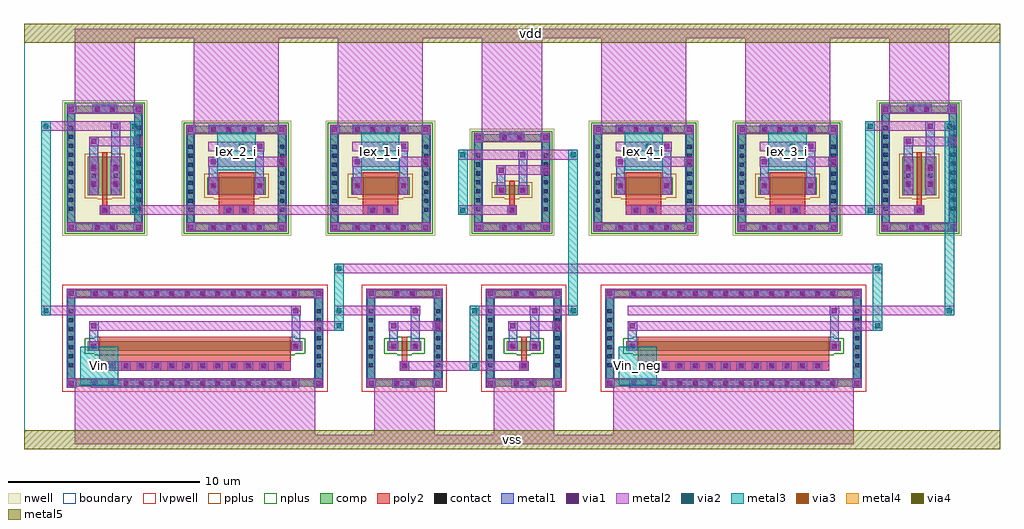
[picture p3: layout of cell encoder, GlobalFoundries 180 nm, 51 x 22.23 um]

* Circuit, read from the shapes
.subckt encoder Iex_1_i Iex_2_i Iex_3_i Iex_4_i Vin Vin_neg vdd vss
XM1 n1 Vin n2 vss nfet_03v3 w=0.5u l=10u
XM2 n2 n3 vss vss nfet_03v3 w=0.5u l=0.28u
XM3 n3 n3 vss vss nfet_03v3 w=0.5u l=0.28u
XM4 n4 Vin_neg n2 vss nfet_03v3 w=0.5u l=10u
XM5 n1 n1 vdd vdd pfet_03v3 w=2u l=0.28u
XM6 Iex_2_i n1 vdd vdd pfet_03v3 w=0.93u l=1.86u
XM7 Iex_1_i n1 vdd vdd pfet_03v3 w=0.93u l=1.86u
XM8 n3 n3 vdd vdd pfet_03v3 w=0.5u l=0.28u
XM9 Iex_4_i n4 vdd vdd pfet_03v3 w=0.93u l=1.86u
XM10 Iex_3_i n4 vdd vdd pfet_03v3 w=0.93u l=1.86u
XM11 n4 n4 vdd vdd pfet_03v3 w=2u l=0.28u
.ends

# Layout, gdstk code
import gdstk
lib = gdstk.Library(unit=1e-6, precision=1e-09)
def R(c, l, rs):  # rectangles x0, y0, x1, y1
    for r in rs: c.add(gdstk.rectangle(r[:2], r[2:], *l))
def A(c, l, x, y, w, h, nx, ny, dx, dy):  # array of equal rectangles
    R(c, l, [(x+i*dx, y+j*dy, x+i*dx+w, y+j*dy+h) for i in range(nx) for j in range(ny)])
boundary = (0, 0)
nwell = (21, 0)
comp = (22, 0)
poly2 = (30, 0)
pplus = (31, 0)
nplus = (32, 0)
contact = (33, 0)
metal1 = (34, 0)
via1 = (35, 0)
metal2 = (36, 0)
via2 = (38, 0)
via3 = (40, 0)
via4 = (41, 0)
metal3 = (42, 0)
metal4 = (46, 0)
metal5 = (81, 0)
lvpwell = (204, 0)

via_stack_7490b2b5_1 = lib.new_cell('via_stack_7490b2b5$1')
R(via_stack_7490b2b5_1, metal2, [(-0.25,-0.25,0.25,0.25)])
R(via_stack_7490b2b5_1, via2, [(-0.13,-0.13,0.13,0.13)])
R(via_stack_7490b2b5_1, metal3, [(-0.25,-0.25,0.25,0.25)])

c_route_b2553670 = lib.new_cell('c_route_b2553670')
R(c_route_b2553670, metal2, [(0.9,6.995,3.4,7.495), (0.9,16.635,3.4,17.135)])
R(c_route_b2553670, via2, [(1.02,7.115,1.28,7.375), (1.02,16.755,1.28,17.015)])
R(c_route_b2553670, metal3, [(0.9,6.995,1.4,17.135)])

compass_layer42__0_size2 = lib.new_cell('compass_layer42__0_size2__2$10')
R(compass_layer42__0_size2, metal3, [(-1,-1,1,1)])

rectangle_layer42__0_siz = lib.new_cell('rectangle_layer42__0_size2__2$10')
rectangle_layer42__0_siz.add(gdstk.Reference(compass_layer42__0_size2, (1,1)))

xm9_1 = lib.new_cell('xm9$1')
R(xm9_1, comp, [(-1.94,-2.52,1.94,-2.16), (-1.94,-2.16,-1.58,2.16), (1.58,-2.16,1.94,2.16), (-0.89,-0.655,0.89,-0.155), (-1.94,2.16,1.94,2.52)])
R(xm9_1, poly2, [(-0.25,-1.695,0.25,-1.195), (-0.14,-1.195,0.14,0.085)])
R(xm9_1, pplus, [(-0.61,-2.55,0.61,-2.54), (-1.96,-2.54,1.96,-2.14), (-1.96,-2.14,-1.56,-1.62), (-0.61,-2.14,0.61,-2.13), (1.56,-2.14,1.96,-1.62), (-1.97,-1.62,-1.55,1.62), (1.55,-1.62,1.97,1.62), (-1.96,1.62,-1.56,2.14), (1.56,1.62,1.96,2.14), (-0.61,2.13,0.61,2.14), (-1.96,2.14,1.96,2.54), (-0.61,2.54,0.61,2.55)])
R(xm9_1, nplus, [(-0.37,-0.885,0.37,-0.815), (-1.05,-0.815,1.05,0.005), (-0.37,0.005,0.37,0.075)])
A(xm9_1, contact, -1.87, -1.52, 0.22, 0.22, 1, 7, 0, 0.47)
A(xm9_1, contact, 1.65, -1.52, 0.22, 0.22, 1, 7, 0, 0.47)
R(xm9_1, contact, [(-0.51,-2.45,-0.29,-2.23), (0.29,-2.45,0.51,-2.23), (-0.11,-1.555,0.11,-1.335), (-0.68,-0.515,-0.46,-0.295), (0.46,-0.515,0.68,-0.295), (-0.51,2.23,-0.29,2.45), (0.29,2.23,0.51,2.45)])
R(xm9_1, metal1, [(-1.99,-2.59,-1.49,-2.09), (-0.65,-2.59,0.65,-2.09), (1.49,-2.59,1.99,-2.09), (-1.99,-2.09,-1.53,2.09), (1.53,-2.09,1.99,2.09), (-0.25,-1.695,0.25,-1.195), (-0.82,-0.655,-0.32,-0.155), (0.32,-0.655,0.82,-0.155), (-0.8,-0.155,-0.34,0.395), (0.34,-0.155,0.8,1.195), (-0.82,0.395,-0.32,0.895), (0.32,1.195,0.82,1.695), (-1.99,2.09,-1.49,2.59), (-0.65,2.09,0.65,2.59), (1.49,2.09,1.99,2.59)])
R(xm9_1, via1, [(-1.87,-2.47,-1.61,-2.21), (-0.53,-2.47,-0.27,-2.21), (0.27,-2.47,0.53,-2.21), (1.61,-2.47,1.87,-2.21), (-0.13,-1.575,0.13,-1.315), (-0.7,-0.535,-0.44,-0.275), (0.44,-0.535,0.7,-0.275), (-0.7,0.515,-0.44,0.775), (0.44,1.315,0.7,1.575), (-1.87,2.21,-1.61,2.47), (-0.53,2.21,-0.27,2.47), (0.27,2.21,0.53,2.47), (1.61,2.21,1.87,2.47)])
R(xm9_1, metal2, [(-1.99,-2.59,1.99,-2.09), (-0.25,-1.695,0.25,-1.195), (-0.82,-0.655,-0.32,-0.155), (0.32,-0.655,0.82,-0.155), (-0.82,0.395,0.82,0.895), (-0.82,1.195,0.82,1.695), (-1.99,2.09,1.99,2.59)])
R(xm9_1, lvpwell, [(-2.22,-2.8,2.22,2.8)])

via_stack_7490b2b5 = lib.new_cell('via_stack_7490b2b5')
R(via_stack_7490b2b5, metal2, [(-0.25,-0.25,0.25,0.25)])
R(via_stack_7490b2b5, via2, [(-0.13,-0.13,0.13,0.13)])
R(via_stack_7490b2b5, metal3, [(-0.25,-0.25,0.25,0.25)])

straight_route_88abcf1b = lib.new_cell('straight_route_88abcf1b')
R(straight_route_88abcf1b, metal2, [(14.46,6.195,16.21,6.695)])

l_route_b9b0439d = lib.new_cell('L_route_b9b0439d')
R(l_route_b9b0439d, metal2, [(16.21,6.995,19.06,7.495)])
R(l_route_b9b0439d, via2, [(16.33,7.115,16.59,7.375)])
R(l_route_b9b0439d, metal3, [(16.21,6.695,16.71,7.495)])

xm10 = lib.new_cell('xm10')
R(xm10, comp, [(-1.94,-2.52,1.94,-2.16), (-1.94,-2.16,-1.58,2.16), (1.58,-2.16,1.94,2.16), (-0.89,-0.655,0.89,-0.155), (-1.94,2.16,1.94,2.52)])
R(xm10, poly2, [(-0.25,-1.695,0.25,-1.195), (-0.14,-1.195,0.14,0.085)])
R(xm10, pplus, [(-0.61,-2.55,0.61,-2.54), (-1.96,-2.54,1.96,-2.14), (-1.96,-2.14,-1.56,-1.62), (-0.61,-2.14,0.61,-2.13), (1.56,-2.14,1.96,-1.62), (-1.97,-1.62,-1.55,1.62), (1.55,-1.62,1.97,1.62), (-1.96,1.62,-1.56,2.14), (1.56,1.62,1.96,2.14), (-0.61,2.13,0.61,2.14), (-1.96,2.14,1.96,2.54), (-0.61,2.54,0.61,2.55)])
R(xm10, nplus, [(-0.37,-0.885,0.37,-0.815), (-1.05,-0.815,1.05,0.005), (-0.37,0.005,0.37,0.075)])
A(xm10, contact, -1.87, -1.52, 0.22, 0.22, 1, 7, 0, 0.47)
A(xm10, contact, 1.65, -1.52, 0.22, 0.22, 1, 7, 0, 0.47)
R(xm10, contact, [(-0.51,-2.45,-0.29,-2.23), (0.29,-2.45,0.51,-2.23), (-0.11,-1.555,0.11,-1.335), (-0.68,-0.515,-0.46,-0.295), (0.46,-0.515,0.68,-0.295), (-0.51,2.23,-0.29,2.45), (0.29,2.23,0.51,2.45)])
R(xm10, metal1, [(-1.99,-2.59,-1.49,-2.09), (-0.65,-2.59,0.65,-2.09), (1.49,-2.59,1.99,-2.09), (-1.99,-2.09,-1.53,2.09), (1.53,-2.09,1.99,2.09), (-0.25,-1.695,0.25,-1.195), (-0.82,-0.655,-0.32,-0.155), (0.32,-0.655,0.82,-0.155), (-0.8,-0.155,-0.34,0.395), (0.34,-0.155,0.8,1.195), (-0.82,0.395,-0.32,0.895), (0.32,1.195,0.82,1.695), (-1.99,2.09,-1.49,2.59), (-0.65,2.09,0.65,2.59), (1.49,2.09,1.99,2.59)])
R(xm10, via1, [(-1.87,-2.47,-1.61,-2.21), (-0.53,-2.47,-0.27,-2.21), (0.27,-2.47,0.53,-2.21), (1.61,-2.47,1.87,-2.21), (-0.13,-1.575,0.13,-1.315), (-0.7,-0.535,-0.44,-0.275), (0.44,-0.535,0.7,-0.275), (-0.7,0.515,-0.44,0.775), (0.44,1.315,0.7,1.575), (-1.87,2.21,-1.61,2.47), (-0.53,2.21,-0.27,2.47), (0.27,2.21,0.53,2.47), (1.61,2.21,1.87,2.47)])
R(xm10, metal2, [(-1.99,-2.59,1.99,-2.09), (-0.25,-1.695,0.25,-1.195), (-0.82,-0.655,-0.32,-0.155), (0.32,-0.655,0.82,-0.155), (-0.82,0.395,0.82,0.895), (-0.82,1.195,0.82,1.695), (-1.99,2.09,1.99,2.59)])
R(xm10, lvpwell, [(-2.22,-2.8,2.22,2.8)])

via_stack_b843013f = lib.new_cell('via_stack_b843013f')
R(via_stack_b843013f, metal2, [(-0.25,-0.25,0.25,0.25)])
R(via_stack_b843013f, via2, [(-0.13,-0.13,0.13,0.13)])
R(via_stack_b843013f, via3, [(-0.13,-0.13,0.13,0.13)])
R(via_stack_b843013f, via4, [(-0.13,-0.13,0.13,0.13)])
R(via_stack_b843013f, metal3, [(-0.25,-0.25,0.25,0.25)])
R(via_stack_b843013f, metal4, [(-0.25,-0.25,0.25,0.25)])
R(via_stack_b843013f, metal5, [(-0.25,-0.25,0.25,0.25)])

l_route_a891df28 = lib.new_cell('L_route_a891df28')
R(l_route_a891df28, metal2, [(24.54,0.25,27.7,3.21)])

l_route_049704b8 = lib.new_cell('L_route_049704b8')
R(l_route_049704b8, metal1, [(21.37,6.195,21.87,6.695), (21.41,6.695,21.87,7.96)])
R(l_route_049704b8, via1, [(21.49,6.315,21.75,6.575)])
R(l_route_049704b8, metal2, [(20.7,6.195,21.87,6.695)])

c_route_481192b6 = lib.new_cell('c_route_481192b6')
R(c_route_481192b6, metal2, [(23.3,4.105,25.87,4.605), (23.3,6.995,25.3,7.495)])
R(c_route_481192b6, via2, [(23.42,4.225,23.68,4.485), (23.42,7.115,23.68,7.375)])
R(c_route_481192b6, metal3, [(23.3,4.105,23.8,7.495)])

straight_route_ff57ad5f = lib.new_cell('straight_route_ff57ad5f')
R(straight_route_ff57ad5f, metal2, [(20.13,4.105,25.87,4.605)])

l_route_1f6eb2fc = lib.new_cell('L_route_1f6eb2fc')
R(l_route_1f6eb2fc, metal2, [(18.3,0.25,25.25,0.75), (18.3,0.75,21.46,3.21)])

xm1_1 = lib.new_cell('xm1$1')
R(xm1_1, comp, [(-6.65,-2.52,6.65,-2.16), (-6.65,-2.16,-6.29,2.16), (6.29,-2.16,6.65,2.16), (-5.6,-0.655,5.6,-0.155), (-6.65,2.16,6.65,2.52)])
R(xm1_1, poly2, [(-5,-1.695,5,0.085)])
R(xm1_1, pplus, [(-5.41,-2.55,5.41,-2.54), (-6.67,-2.54,6.67,-2.14), (-6.67,-2.14,-6.27,-1.62), (-5.41,-2.14,5.41,-2.13), (6.27,-2.14,6.67,-1.62), (-6.68,-1.62,-6.26,1.62), (6.26,-1.62,6.68,1.62), (-6.67,1.62,-6.27,2.14), (6.27,1.62,6.67,2.14), (-5.41,2.13,5.41,2.14), (-6.67,2.14,6.67,2.54), (-5.41,2.54,5.41,2.55)])
R(xm1_1, nplus, [(-5.23,-0.885,5.23,-0.815), (-5.76,-0.815,5.76,0.005), (-5.23,0.005,5.23,0.075)])
A(xm1_1, contact, -5.31, -2.45, 0.22, 0.22, 14, 2, 0.8, 4.68)
A(xm1_1, contact, -4.51, -1.555, 0.22, 0.22, 12, 1, 0.8, 0)
A(xm1_1, contact, -6.58, -1.52, 0.22, 0.22, 1, 7, 0, 0.47)
A(xm1_1, contact, 6.36, -1.52, 0.22, 0.22, 1, 7, 0, 0.47)
R(xm1_1, contact, [(-5.39,-0.515,-5.17,-0.295), (5.17,-0.515,5.39,-0.295)])
A(xm1_1, metal1, -4.65, -1.695, 0.5, 0.5, 12, 1, 0.8, 0)
R(xm1_1, metal1, [(-6.7,-2.59,-6.2,-2.09), (-5.45,-2.59,5.45,-2.09), (6.2,-2.59,6.7,-2.09), (-6.7,-2.09,-6.24,2.09), (6.24,-2.09,6.7,2.09), (-5.53,-0.655,-5.03,-0.155), (5.03,-0.655,5.53,-0.155), (-5.51,-0.155,-5.05,0.395), (5.05,-0.155,5.51,1.195), (-5.53,0.395,-5.03,0.895), (5.03,1.195,5.53,1.695), (-6.7,2.09,-6.2,2.59), (-5.45,2.09,5.45,2.59), (6.2,2.09,6.7,2.59)])
A(xm1_1, via1, -5.33, -2.47, 0.26, 0.26, 14, 2, 0.8, 4.68)
A(xm1_1, via1, -4.53, -1.575, 0.26, 0.26, 12, 1, 0.8, 0)
R(xm1_1, via1, [(-6.58,-2.47,-6.32,-2.21), (6.32,-2.47,6.58,-2.21), (-5.41,-0.535,-5.15,-0.275), (5.15,-0.535,5.41,-0.275), (-5.41,0.515,-5.15,0.775), (5.15,1.315,5.41,1.575), (-6.58,2.21,-6.32,2.47), (6.32,2.21,6.58,2.47)])
R(xm1_1, metal2, [(-6.7,-2.59,6.7,-2.09), (-5,-1.695,5,-1.195), (-5.53,-0.655,-5.03,-0.155), (5.03,-0.655,5.53,-0.155), (-5.53,0.395,5.53,0.895), (-5.53,1.195,5.53,1.695), (-6.7,2.09,6.7,2.59)])
R(xm1_1, lvpwell, [(-6.93,-2.8,6.93,2.8)])

l_route_4362e3b7 = lib.new_cell('L_route_4362e3b7')
R(l_route_4362e3b7, metal2, [(2.64,0.25,25.25,0.75), (2.64,0.75,15.22,3.21)])

l_route_0982d815 = lib.new_cell('L_route_0982d815')
R(l_route_0982d815, metal2, [(25.25,0.25,43.36,0.75), (30.78,0.75,43.36,3.21)])

xm2_1 = lib.new_cell('xm2$1')
R(xm2_1, comp, [(-6.65,-2.52,6.65,-2.16), (-6.65,-2.16,-6.29,2.16), (6.29,-2.16,6.65,2.16), (-5.6,-0.655,5.6,-0.155), (-6.65,2.16,6.65,2.52)])
R(xm2_1, poly2, [(-5,-1.695,5,0.085)])
R(xm2_1, pplus, [(-5.41,-2.55,5.41,-2.54), (-6.67,-2.54,6.67,-2.14), (-6.67,-2.14,-6.27,-1.62), (-5.41,-2.14,5.41,-2.13), (6.27,-2.14,6.67,-1.62), (-6.68,-1.62,-6.26,1.62), (6.26,-1.62,6.68,1.62), (-6.67,1.62,-6.27,2.14), (6.27,1.62,6.67,2.14), (-5.41,2.13,5.41,2.14), (-6.67,2.14,6.67,2.54), (-5.41,2.54,5.41,2.55)])
R(xm2_1, nplus, [(-5.23,-0.885,5.23,-0.815), (-5.76,-0.815,5.76,0.005), (-5.23,0.005,5.23,0.075)])
A(xm2_1, contact, -5.31, -2.45, 0.22, 0.22, 14, 2, 0.8, 4.68)
A(xm2_1, contact, -4.51, -1.555, 0.22, 0.22, 12, 1, 0.8, 0)
A(xm2_1, contact, -6.58, -1.52, 0.22, 0.22, 1, 7, 0, 0.47)
A(xm2_1, contact, 6.36, -1.52, 0.22, 0.22, 1, 7, 0, 0.47)
R(xm2_1, contact, [(-5.39,-0.515,-5.17,-0.295), (5.17,-0.515,5.39,-0.295)])
A(xm2_1, metal1, -4.65, -1.695, 0.5, 0.5, 12, 1, 0.8, 0)
R(xm2_1, metal1, [(-6.7,-2.59,-6.2,-2.09), (-5.45,-2.59,5.45,-2.09), (6.2,-2.59,6.7,-2.09), (-6.7,-2.09,-6.24,2.09), (6.24,-2.09,6.7,2.09), (-5.53,-0.655,-5.03,-0.155), (5.03,-0.655,5.53,-0.155), (-5.51,-0.155,-5.05,0.395), (5.05,-0.155,5.51,1.195), (-5.53,0.395,-5.03,0.895), (5.03,1.195,5.53,1.695), (-6.7,2.09,-6.2,2.59), (-5.45,2.09,5.45,2.59), (6.2,2.09,6.7,2.59)])
A(xm2_1, via1, -5.33, -2.47, 0.26, 0.26, 14, 2, 0.8, 4.68)
A(xm2_1, via1, -4.53, -1.575, 0.26, 0.26, 12, 1, 0.8, 0)
R(xm2_1, via1, [(-6.58,-2.47,-6.32,-2.21), (6.32,-2.47,6.58,-2.21), (-5.41,-0.535,-5.15,-0.275), (5.15,-0.535,5.41,-0.275), (-5.41,0.515,-5.15,0.775), (5.15,1.315,5.41,1.575), (-6.58,2.21,-6.32,2.47), (6.32,2.21,6.58,2.47)])
R(xm2_1, metal2, [(-6.7,-2.59,6.7,-2.09), (-5,-1.695,5,-1.195), (-5.53,-0.655,-5.03,-0.155), (5.03,-0.655,5.53,-0.155), (-5.53,0.395,5.53,0.895), (-5.53,1.195,5.53,1.695), (-6.7,2.09,6.7,2.59)])
R(xm2_1, lvpwell, [(-6.93,-2.8,6.93,2.8)])

l_route_171a04ac = lib.new_cell('L_route_171a04ac')
R(l_route_171a04ac, metal1, [(27.61,6.195,28.11,6.695), (27.65,6.695,28.11,7.96)])
R(l_route_171a04ac, via1, [(27.73,6.315,27.99,6.575)])
R(l_route_171a04ac, metal2, [(26.94,6.195,28.11,6.695)])

c_route_f370e2cd = lib.new_cell('c_route_f370e2cd')
R(c_route_f370e2cd, metal2, [(42.6,6.995,48.6,7.495), (47.6,16.635,48.6,17.135)])
R(c_route_f370e2cd, via2, [(48.22,7.115,48.48,7.375), (48.22,16.755,48.48,17.015)])
R(c_route_f370e2cd, metal3, [(48.1,6.995,48.6,17.135)])

c_route_04ee7531 = lib.new_cell('c_route_04ee7531')
R(c_route_04ee7531, metal2, [(26.94,6.995,28.94,7.495), (26.32,15.14,28.94,15.64)])
R(c_route_04ee7531, via2, [(28.56,7.115,28.82,7.375), (28.56,15.26,28.82,15.52)])
R(c_route_04ee7531, metal3, [(28.44,6.995,28.94,15.64)])

straight_route_9d656d86 = lib.new_cell('straight_route_9d656d86')
R(straight_route_9d656d86, metal2, [(42.6,6.195,44.35,6.695)])

c_compass_layer42__0_size2 = lib.new_cell('compass_layer42__0_size2__2$1$2')
R(c_compass_layer42__0_size2, metal3, [(-1,-1,1,1)])

c_rectangle_layer42__0_siz = lib.new_cell('rectangle_layer42__0_size2__2$1$2')
c_rectangle_layer42__0_siz.add(gdstk.Reference(c_compass_layer42__0_size2, (1,1)))

compass_50f39e54_1 = lib.new_cell('compass_50f39e54$1')
R(compass_50f39e54_1, metal5, [(-25.5,-0.5,25.5,0.5)])

rectangle_50f39e54_1 = lib.new_cell('rectangle_50f39e54$1')
rectangle_50f39e54_1.add(gdstk.Reference(compass_50f39e54_1, (25.5,0.5)))

c_route_420c9b31 = lib.new_cell('c_route_420c9b31')
R(c_route_420c9b31, metal2, [(16.21,9.195,44.85,9.695)])
R(c_route_420c9b31, via2, [(16.33,9.315,16.59,9.575), (44.47,9.315,44.73,9.575)])
R(c_route_420c9b31, metal3, [(16.21,6.695,16.71,9.695), (44.35,6.695,44.85,9.695)])

xm3_1 = lib.new_cell('xm3$1')
R(xm3_1, nwell, [(-2.22,-3.545,2.22,3.545)])
R(xm3_1, comp, [(-1.94,-3.265,1.94,-2.905), (-1.94,-2.905,-1.58,2.905), (1.58,-2.905,1.94,2.905), (-0.89,-1.405,0.89,0.595), (-1.94,2.905,1.94,3.265)])
R(xm3_1, poly2, [(-0.25,-2.445,0.25,-1.945), (-0.14,-1.945,0.14,0.835)])
R(xm3_1, pplus, [(-0.37,-1.635,0.37,-1.565), (-1.05,-1.565,1.05,0.755), (-0.37,0.755,0.37,0.825)])
R(xm3_1, nplus, [(-2.1,-3.425,2.1,-2.885), (-2.1,-2.885,-1.56,-2.325), (-0.61,-2.885,0.61,-2.875), (1.56,-2.885,2.1,-2.325), (-2.1,-2.325,-1.55,2.325), (1.55,-2.325,2.1,2.325), (-2.1,2.325,-1.56,2.885), (1.56,2.325,2.1,2.885), (-0.61,2.875,0.61,2.885), (-2.1,2.885,2.1,3.425)])
A(xm3_1, contact, -1.87, -2.225, 0.22, 0.22, 1, 10, 0, 0.47)
A(xm3_1, contact, 1.65, -2.225, 0.22, 0.22, 1, 10, 0, 0.47)
A(xm3_1, contact, -0.68, -0.985, 0.22, 0.22, 1, 3, 0, 0.47)
A(xm3_1, contact, 0.46, -0.985, 0.22, 0.22, 1, 3, 0, 0.47)
R(xm3_1, contact, [(-0.51,-3.195,-0.29,-2.975), (0.29,-3.195,0.51,-2.975), (-0.11,-2.305,0.11,-2.085), (-0.51,2.975,-0.29,3.195), (0.29,2.975,0.51,3.195)])
R(xm3_1, metal1, [(-1.99,-3.335,-1.49,-2.835), (-0.65,-3.335,0.65,-2.835), (1.49,-3.335,1.99,-2.835), (-1.99,-2.835,-1.53,2.835), (1.53,-2.835,1.99,2.835), (-0.25,-2.445,0.25,-1.945), (-0.8,-1.405,-0.34,-1.055), (0.34,-1.405,0.8,-1.055), (-0.82,-1.055,-0.32,0.245), (0.32,-1.055,0.82,0.245), (-0.8,0.245,-0.34,1.145), (0.34,0.245,0.8,1.945), (-0.82,1.145,-0.32,1.645), (0.32,1.945,0.82,2.445), (-1.99,2.835,-1.49,3.335), (-0.65,2.835,0.65,3.335), (1.49,2.835,1.99,3.335)])
R(xm3_1, via1, [(-1.87,-3.215,-1.61,-2.955), (-0.53,-3.215,-0.27,-2.955), (0.27,-3.215,0.53,-2.955), (1.61,-3.215,1.87,-2.955), (-0.13,-2.325,0.13,-2.065), (-0.7,-0.935,-0.44,-0.675), (0.44,-0.935,0.7,-0.675), (-0.7,-0.135,-0.44,0.125), (0.44,-0.135,0.7,0.125), (-0.7,1.265,-0.44,1.525), (0.44,2.065,0.7,2.325), (-1.87,2.955,-1.61,3.215), (-0.53,2.955,-0.27,3.215), (0.27,2.955,0.53,3.215), (1.61,2.955,1.87,3.215)])
R(xm3_1, metal2, [(-1.99,-3.335,1.99,-2.835), (-0.25,-2.445,0.25,-1.945), (-0.82,-1.405,-0.32,0.595), (0.32,-1.405,0.82,0.595), (-0.82,1.145,0.82,1.645), (-0.82,1.945,0.82,2.445), (-1.99,2.835,1.99,3.335)])

xm5_1 = lib.new_cell('xm5$1')
R(xm5_1, nwell, [(-2.86,-3.015,2.86,3.015)])
R(xm5_1, comp, [(-2.58,-2.735,2.58,-2.375), (-2.58,-2.375,-2.22,2.375), (2.22,-2.375,2.58,2.375), (-1.53,-0.865,1.53,0.065), (-2.58,2.375,2.58,2.735)])
R(xm5_1, poly2, [(-0.93,-1.91,0.93,0.31)])
R(xm5_1, pplus, [(-1.16,-1.095,1.16,-1.025), (-1.69,-1.025,1.69,0.225), (-1.16,0.225,1.16,0.295)])
R(xm5_1, nplus, [(-2.74,-2.895,2.74,-2.355), (-2.74,-2.355,-2.2,-1.855), (-1.41,-2.355,1.41,-2.345), (2.2,-2.355,2.74,-1.855), (-2.74,-1.855,-2.19,1.855), (2.19,-1.855,2.74,1.855), (-2.74,1.855,-2.2,2.355), (2.2,1.855,2.74,2.355), (-1.41,2.345,1.41,2.355), (-2.74,2.355,2.74,2.895)])
A(xm5_1, contact, -1.31, -2.665, 0.22, 0.22, 4, 2, 0.8, 5.11)
A(xm5_1, contact, -2.51, -1.755, 0.22, 0.22, 1, 8, 0, 0.47)
A(xm5_1, contact, 2.29, -1.755, 0.22, 0.22, 1, 8, 0, 0.47)
R(xm5_1, contact, [(-0.51,-1.77,-0.29,-1.55), (0.29,-1.77,0.51,-1.55), (-1.32,-0.51,-1.1,-0.29), (1.1,-0.51,1.32,-0.29)])
R(xm5_1, metal1, [(-2.63,-2.805,-2.13,-2.305), (-1.45,-2.805,1.45,-2.305), (2.13,-2.805,2.63,-2.305), (-2.63,-2.305,-2.17,2.305), (2.17,-2.305,2.63,2.305), (-0.65,-1.91,-0.15,-1.41), (0.15,-1.91,0.65,-1.41), (-1.44,-0.865,-0.98,-0.65), (0.98,-0.865,1.44,-0.65), (-1.46,-0.65,-0.96,-0.15), (0.96,-0.65,1.46,-0.15), (-1.44,-0.15,-0.98,0.615), (0.98,-0.15,1.44,1.415), (-1.46,0.615,-0.96,1.115), (0.96,1.415,1.46,1.915), (-2.63,2.305,-2.13,2.805), (-1.45,2.305,1.45,2.805), (2.13,2.305,2.63,2.805)])
A(xm5_1, via1, -1.33, -2.685, 0.26, 0.26, 4, 2, 0.8, 5.11)
R(xm5_1, via1, [(-2.51,-2.685,-2.25,-2.425), (2.25,-2.685,2.51,-2.425), (-0.53,-1.79,-0.27,-1.53), (0.27,-1.79,0.53,-1.53), (-1.34,-0.53,-1.08,-0.27), (1.08,-0.53,1.34,-0.27), (-1.34,0.735,-1.08,0.995), (1.08,1.535,1.34,1.795), (-2.51,2.425,-2.25,2.685), (2.25,2.425,2.51,2.685)])
R(xm5_1, metal2, [(-2.63,-2.805,2.63,-2.305), (-0.93,-1.91,0.93,-1.41), (-1.46,-0.865,-0.96,0.065), (0.96,-0.865,1.46,0.065), (-1.46,0.615,1.46,1.115), (-1.46,1.415,1.46,1.915), (-2.63,2.305,2.63,2.805)])

l_route_0b27eaa6 = lib.new_cell('L_route_0b27eaa6')
R(l_route_0b27eaa6, metal1, [(5.71,15.835,6.21,16.335), (5.75,16.335,6.21,17.595)])
R(l_route_0b27eaa6, via1, [(5.83,15.955,6.09,16.215)])
R(l_route_0b27eaa6, metal2, [(5.04,15.835,6.21,16.335)])

c_route_86cd68ff = lib.new_cell('c_route_86cd68ff')
R(c_route_86cd68ff, metal2, [(4.47,12.245,6.04,12.745), (5.04,16.635,6.04,17.135)])
R(c_route_86cd68ff, via2, [(5.66,12.365,5.92,12.625), (5.66,16.755,5.92,17.015)])
R(c_route_86cd68ff, metal3, [(5.54,12.245,6.04,17.135)])

straight_route_3d652be3 = lib.new_cell('straight_route_3d652be3')
R(straight_route_3d652be3, metal2, [(4.47,12.245,10.17,12.745)])

c_compass_layer42__0_size2_ = lib.new_cell('compass_layer42__0_size2__2$3$1')
R(c_compass_layer42__0_size2_, metal3, [(-1,-1,1,1)])

c_rectangle_layer42__0_siz_ = lib.new_cell('rectangle_layer42__0_size2__2$3$1')
c_rectangle_layer42__0_siz_.add(gdstk.Reference(c_compass_layer42__0_size2_, (1,1)))

xm8_1 = lib.new_cell('xm8$1')
R(xm8_1, nwell, [(-2.86,-3.015,2.86,3.015)])
R(xm8_1, comp, [(-2.58,-2.735,2.58,-2.375), (-2.58,-2.375,-2.22,2.375), (2.22,-2.375,2.58,2.375), (-1.53,-0.865,1.53,0.065), (-2.58,2.375,2.58,2.735)])
R(xm8_1, poly2, [(-0.93,-1.91,0.93,0.31)])
R(xm8_1, pplus, [(-1.16,-1.095,1.16,-1.025), (-1.69,-1.025,1.69,0.225), (-1.16,0.225,1.16,0.295)])
R(xm8_1, nplus, [(-2.74,-2.895,2.74,-2.355), (-2.74,-2.355,-2.2,-1.855), (-1.41,-2.355,1.41,-2.345), (2.2,-2.355,2.74,-1.855), (-2.74,-1.855,-2.19,1.855), (2.19,-1.855,2.74,1.855), (-2.74,1.855,-2.2,2.355), (2.2,1.855,2.74,2.355), (-1.41,2.345,1.41,2.355), (-2.74,2.355,2.74,2.895)])
A(xm8_1, contact, -1.31, -2.665, 0.22, 0.22, 4, 2, 0.8, 5.11)
A(xm8_1, contact, -2.51, -1.755, 0.22, 0.22, 1, 8, 0, 0.47)
A(xm8_1, contact, 2.29, -1.755, 0.22, 0.22, 1, 8, 0, 0.47)
R(xm8_1, contact, [(-0.51,-1.77,-0.29,-1.55), (0.29,-1.77,0.51,-1.55), (-1.32,-0.51,-1.1,-0.29), (1.1,-0.51,1.32,-0.29)])
R(xm8_1, metal1, [(-2.63,-2.805,-2.13,-2.305), (-1.45,-2.805,1.45,-2.305), (2.13,-2.805,2.63,-2.305), (-2.63,-2.305,-2.17,2.305), (2.17,-2.305,2.63,2.305), (-0.65,-1.91,-0.15,-1.41), (0.15,-1.91,0.65,-1.41), (-1.44,-0.865,-0.98,-0.65), (0.98,-0.865,1.44,-0.65), (-1.46,-0.65,-0.96,-0.15), (0.96,-0.65,1.46,-0.15), (-1.44,-0.15,-0.98,0.615), (0.98,-0.15,1.44,1.415), (-1.46,0.615,-0.96,1.115), (0.96,1.415,1.46,1.915), (-2.63,2.305,-2.13,2.805), (-1.45,2.305,1.45,2.805), (2.13,2.305,2.63,2.805)])
A(xm8_1, via1, -1.33, -2.685, 0.26, 0.26, 4, 2, 0.8, 5.11)
R(xm8_1, via1, [(-2.51,-2.685,-2.25,-2.425), (2.25,-2.685,2.51,-2.425), (-0.53,-1.79,-0.27,-1.53), (0.27,-1.79,0.53,-1.53), (-1.34,-0.53,-1.08,-0.27), (1.08,-0.53,1.34,-0.27), (-1.34,0.735,-1.08,0.995), (1.08,1.535,1.34,1.795), (-2.51,2.425,-2.25,2.685), (2.25,2.425,2.51,2.685)])
R(xm8_1, metal2, [(-2.63,-2.805,2.63,-2.305), (-0.93,-1.91,0.93,-1.41), (-1.46,-0.865,-0.96,0.065), (0.96,-0.865,1.46,0.065), (-1.46,0.615,1.46,1.115), (-1.46,1.415,1.46,1.915), (-2.63,2.305,2.63,2.805)])

xm11 = lib.new_cell('xm11')
R(xm11, nwell, [(-2.22,-2.8,2.22,2.8)])
R(xm11, comp, [(-1.94,-2.52,1.94,-2.16), (-1.94,-2.16,-1.58,2.16), (1.58,-2.16,1.94,2.16), (-0.89,-0.655,0.89,-0.155), (-1.94,2.16,1.94,2.52)])
R(xm11, poly2, [(-0.25,-1.695,0.25,-1.195), (-0.14,-1.195,0.14,0.085)])
R(xm11, pplus, [(-0.37,-0.885,0.37,-0.815), (-1.05,-0.815,1.05,0.005), (-0.37,0.005,0.37,0.075)])
R(xm11, nplus, [(-2.1,-2.68,2.1,-2.14), (-2.1,-2.14,-1.56,-1.62), (-0.61,-2.14,0.61,-2.13), (1.56,-2.14,2.1,-1.62), (-2.1,-1.62,-1.55,1.62), (1.55,-1.62,2.1,1.62), (-2.1,1.62,-1.56,2.14), (1.56,1.62,2.1,2.14), (-0.61,2.13,0.61,2.14), (-2.1,2.14,2.1,2.68)])
A(xm11, contact, -1.87, -1.52, 0.22, 0.22, 1, 7, 0, 0.47)
A(xm11, contact, 1.65, -1.52, 0.22, 0.22, 1, 7, 0, 0.47)
R(xm11, contact, [(-0.51,-2.45,-0.29,-2.23), (0.29,-2.45,0.51,-2.23), (-0.11,-1.555,0.11,-1.335), (-0.68,-0.515,-0.46,-0.295), (0.46,-0.515,0.68,-0.295), (-0.51,2.23,-0.29,2.45), (0.29,2.23,0.51,2.45)])
R(xm11, metal1, [(-1.99,-2.59,-1.49,-2.09), (-0.65,-2.59,0.65,-2.09), (1.49,-2.59,1.99,-2.09), (-1.99,-2.09,-1.53,2.09), (1.53,-2.09,1.99,2.09), (-0.25,-1.695,0.25,-1.195), (-0.82,-0.655,-0.32,-0.155), (0.32,-0.655,0.82,-0.155), (-0.8,-0.155,-0.34,0.395), (0.34,-0.155,0.8,1.195), (-0.82,0.395,-0.32,0.895), (0.32,1.195,0.82,1.695), (-1.99,2.09,-1.49,2.59), (-0.65,2.09,0.65,2.59), (1.49,2.09,1.99,2.59)])
R(xm11, via1, [(-1.87,-2.47,-1.61,-2.21), (-0.53,-2.47,-0.27,-2.21), (0.27,-2.47,0.53,-2.21), (1.61,-2.47,1.87,-2.21), (-0.13,-1.575,0.13,-1.315), (-0.7,-0.535,-0.44,-0.275), (0.44,-0.535,0.7,-0.275), (-0.7,0.515,-0.44,0.775), (0.44,1.315,0.7,1.575), (-1.87,2.21,-1.61,2.47), (-0.53,2.21,-0.27,2.47), (0.27,2.21,0.53,2.47), (1.61,2.21,1.87,2.47)])
R(xm11, metal2, [(-1.99,-2.59,1.99,-2.09), (-0.25,-1.695,0.25,-1.195), (-0.82,-0.655,-0.32,-0.155), (0.32,-0.655,0.82,-0.155), (-0.82,0.395,0.82,0.895), (-0.82,1.195,0.82,1.695), (-1.99,2.09,1.99,2.59)])

l_route_c52907dc = lib.new_cell('L_route_c52907dc')
R(l_route_c52907dc, metal2, [(16.4,16.965,20.84,21.485), (16.4,21.485,26.25,21.985)])

l_route_11addbd7 = lib.new_cell('L_route_11addbd7')
R(l_route_11addbd7, metal1, [(20.75,14.775,21.25,15.275), (20.79,15.275,21.25,16.535)])
R(l_route_11addbd7, via1, [(20.87,14.895,21.13,15.155)])
R(l_route_11addbd7, metal2, [(20.08,14.775,21.25,15.275)])

l_route_a6bb1778 = lib.new_cell('L_route_a6bb1778')
R(l_route_a6bb1778, metal1, [(13.23,14.775,13.73,15.275), (13.27,15.275,13.73,16.535)])
R(l_route_a6bb1778, via1, [(13.35,14.895,13.61,15.155)])
R(l_route_a6bb1778, metal2, [(12.56,14.775,13.73,15.275)])

straight_route_d8785de4 = lib.new_cell('straight_route_d8785de4')
R(straight_route_d8785de4, metal2, [(12.03,12.25,17.69,12.75)])

c_route_679dd2e5 = lib.new_cell('c_route_679dd2e5')
R(c_route_679dd2e5, metal2, [(22.68,12.25,25.25,12.75), (22.68,15.14,24.68,15.64)])
R(c_route_679dd2e5, via2, [(22.8,12.37,23.06,12.63), (22.8,15.26,23.06,15.52)])
R(c_route_679dd2e5, metal3, [(22.68,12.25,23.18,15.64)])

c_compass_layer42__0_size2__ = lib.new_cell('compass_layer42__0_size2__2$2$1')
R(c_compass_layer42__0_size2__, metal3, [(-1,-1,1,1)])

c_rectangle_layer42__0_siz__ = lib.new_cell('rectangle_layer42__0_size2__2$2$1')
c_rectangle_layer42__0_siz__.add(gdstk.Reference(c_compass_layer42__0_size2__, (1,1)))

l_route_52557085 = lib.new_cell('L_route_52557085')
R(l_route_52557085, metal2, [(8.88,16.965,13.32,21.485), (8.88,21.485,26.25,21.985)])

l_route_aac58595 = lib.new_cell('L_route_aac58595')
R(l_route_aac58595, metal2, [(2.64,18.025,5.8,21.485), (2.64,21.485,26.25,21.985)])

xm6 = lib.new_cell('xm6')
R(xm6, nwell, [(-2.86,-3.015,2.86,3.015)])
R(xm6, comp, [(-2.58,-2.735,2.58,-2.375), (-2.58,-2.375,-2.22,2.375), (2.22,-2.375,2.58,2.375), (-1.53,-0.865,1.53,0.065), (-2.58,2.375,2.58,2.735)])
R(xm6, poly2, [(-0.93,-1.91,0.93,0.31)])
R(xm6, pplus, [(-1.16,-1.095,1.16,-1.025), (-1.69,-1.025,1.69,0.225), (-1.16,0.225,1.16,0.295)])
R(xm6, nplus, [(-2.74,-2.895,2.74,-2.355), (-2.74,-2.355,-2.2,-1.855), (-1.41,-2.355,1.41,-2.345), (2.2,-2.355,2.74,-1.855), (-2.74,-1.855,-2.19,1.855), (2.19,-1.855,2.74,1.855), (-2.74,1.855,-2.2,2.355), (2.2,1.855,2.74,2.355), (-1.41,2.345,1.41,2.355), (-2.74,2.355,2.74,2.895)])
A(xm6, contact, -1.31, -2.665, 0.22, 0.22, 4, 2, 0.8, 5.11)
A(xm6, contact, -2.51, -1.755, 0.22, 0.22, 1, 8, 0, 0.47)
A(xm6, contact, 2.29, -1.755, 0.22, 0.22, 1, 8, 0, 0.47)
R(xm6, contact, [(-0.51,-1.77,-0.29,-1.55), (0.29,-1.77,0.51,-1.55), (-1.32,-0.51,-1.1,-0.29), (1.1,-0.51,1.32,-0.29)])
R(xm6, metal1, [(-2.63,-2.805,-2.13,-2.305), (-1.45,-2.805,1.45,-2.305), (2.13,-2.805,2.63,-2.305), (-2.63,-2.305,-2.17,2.305), (2.17,-2.305,2.63,2.305), (-0.65,-1.91,-0.15,-1.41), (0.15,-1.91,0.65,-1.41), (-1.44,-0.865,-0.98,-0.65), (0.98,-0.865,1.44,-0.65), (-1.46,-0.65,-0.96,-0.15), (0.96,-0.65,1.46,-0.15), (-1.44,-0.15,-0.98,0.615), (0.98,-0.15,1.44,1.415), (-1.46,0.615,-0.96,1.115), (0.96,1.415,1.46,1.915), (-2.63,2.305,-2.13,2.805), (-1.45,2.305,1.45,2.805), (2.13,2.305,2.63,2.805)])
A(xm6, via1, -1.33, -2.685, 0.26, 0.26, 4, 2, 0.8, 5.11)
R(xm6, via1, [(-2.51,-2.685,-2.25,-2.425), (2.25,-2.685,2.51,-2.425), (-0.53,-1.79,-0.27,-1.53), (0.27,-1.79,0.53,-1.53), (-1.34,-0.53,-1.08,-0.27), (1.08,-0.53,1.34,-0.27), (-1.34,0.735,-1.08,0.995), (1.08,1.535,1.34,1.795), (-2.51,2.425,-2.25,2.685), (2.25,2.425,2.51,2.685)])
R(xm6, metal2, [(-2.63,-2.805,2.63,-2.305), (-0.93,-1.91,0.93,-1.41), (-1.46,-0.865,-0.96,0.065), (0.96,-0.865,1.46,0.065), (-1.46,0.615,1.46,1.115), (-1.46,1.415,1.46,1.915), (-2.63,2.305,2.63,2.805)])

l_route_ec792bf5 = lib.new_cell('L_route_ec792bf5')
R(l_route_ec792bf5, metal2, [(30.16,16.965,34.6,21.485), (26.25,21.485,34.6,21.985)])

l_route_aef27d6b = lib.new_cell('L_route_aef27d6b')
R(l_route_aef27d6b, metal2, [(23.92,16.535,27.08,21.985)])

l_route_744f09a4 = lib.new_cell('L_route_744f09a4')
R(l_route_744f09a4, metal1, [(34.51,14.775,35.01,15.275), (34.55,15.275,35.01,16.535)])
R(l_route_744f09a4, via1, [(34.63,14.895,34.89,15.155)])
R(l_route_744f09a4, metal2, [(33.84,14.775,35.01,15.275)])

l_route_1a450bf3 = lib.new_cell('L_route_1a450bf3')
R(l_route_1a450bf3, metal1, [(26.99,14.34,27.49,14.84), (27.03,14.84,27.49,16.105)])
R(l_route_1a450bf3, via1, [(27.11,14.46,27.37,14.72)])
R(l_route_1a450bf3, metal2, [(26.32,14.34,27.49,14.84)])

straight_route_5cfec76b = lib.new_cell('straight_route_5cfec76b')
R(straight_route_5cfec76b, metal2, [(31.45,12.25,40.83,12.75)])

c_compass_layer42__0_size2___ = lib.new_cell('compass_layer42__0_size2__2$5$1')
R(c_compass_layer42__0_size2___, metal3, [(-1,-1,1,1)])

c_rectangle_layer42__0_siz___ = lib.new_cell('rectangle_layer42__0_size2__2$5$1')
c_rectangle_layer42__0_siz___.add(gdstk.Reference(c_compass_layer42__0_size2___, (1,1)))

xm4_1 = lib.new_cell('xm4$1')
R(xm4_1, nwell, [(-2.22,-3.545,2.22,3.545)])
R(xm4_1, comp, [(-1.94,-3.265,1.94,-2.905), (-1.94,-2.905,-1.58,2.905), (1.58,-2.905,1.94,2.905), (-0.89,-1.405,0.89,0.595), (-1.94,2.905,1.94,3.265)])
R(xm4_1, poly2, [(-0.25,-2.445,0.25,-1.945), (-0.14,-1.945,0.14,0.835)])
R(xm4_1, pplus, [(-0.37,-1.635,0.37,-1.565), (-1.05,-1.565,1.05,0.755), (-0.37,0.755,0.37,0.825)])
R(xm4_1, nplus, [(-2.1,-3.425,2.1,-2.885), (-2.1,-2.885,-1.56,-2.325), (-0.61,-2.885,0.61,-2.875), (1.56,-2.885,2.1,-2.325), (-2.1,-2.325,-1.55,2.325), (1.55,-2.325,2.1,2.325), (-2.1,2.325,-1.56,2.885), (1.56,2.325,2.1,2.885), (-0.61,2.875,0.61,2.885), (-2.1,2.885,2.1,3.425)])
A(xm4_1, contact, -1.87, -2.225, 0.22, 0.22, 1, 10, 0, 0.47)
A(xm4_1, contact, 1.65, -2.225, 0.22, 0.22, 1, 10, 0, 0.47)
A(xm4_1, contact, -0.68, -0.985, 0.22, 0.22, 1, 3, 0, 0.47)
A(xm4_1, contact, 0.46, -0.985, 0.22, 0.22, 1, 3, 0, 0.47)
R(xm4_1, contact, [(-0.51,-3.195,-0.29,-2.975), (0.29,-3.195,0.51,-2.975), (-0.11,-2.305,0.11,-2.085), (-0.51,2.975,-0.29,3.195), (0.29,2.975,0.51,3.195)])
R(xm4_1, metal1, [(-1.99,-3.335,-1.49,-2.835), (-0.65,-3.335,0.65,-2.835), (1.49,-3.335,1.99,-2.835), (-1.99,-2.835,-1.53,2.835), (1.53,-2.835,1.99,2.835), (-0.25,-2.445,0.25,-1.945), (-0.8,-1.405,-0.34,-1.055), (0.34,-1.405,0.8,-1.055), (-0.82,-1.055,-0.32,0.245), (0.32,-1.055,0.82,0.245), (-0.8,0.245,-0.34,1.145), (0.34,0.245,0.8,1.945), (-0.82,1.145,-0.32,1.645), (0.32,1.945,0.82,2.445), (-1.99,2.835,-1.49,3.335), (-0.65,2.835,0.65,3.335), (1.49,2.835,1.99,3.335)])
R(xm4_1, via1, [(-1.87,-3.215,-1.61,-2.955), (-0.53,-3.215,-0.27,-2.955), (0.27,-3.215,0.53,-2.955), (1.61,-3.215,1.87,-2.955), (-0.13,-2.325,0.13,-2.065), (-0.7,-0.935,-0.44,-0.675), (0.44,-0.935,0.7,-0.675), (-0.7,-0.135,-0.44,0.125), (0.44,-0.135,0.7,0.125), (-0.7,1.265,-0.44,1.525), (0.44,2.065,0.7,2.325), (-1.87,2.955,-1.61,3.215), (-0.53,2.955,-0.27,3.215), (0.27,2.955,0.53,3.215), (1.61,2.955,1.87,3.215)])
R(xm4_1, metal2, [(-1.99,-3.335,1.99,-2.835), (-0.25,-2.445,0.25,-1.945), (-0.82,-1.405,-0.32,0.595), (0.32,-1.405,0.82,0.595), (-0.82,1.145,0.82,1.645), (-0.82,1.945,0.82,2.445), (-1.99,2.835,1.99,3.335)])

xm7_1 = lib.new_cell('xm7$1')
R(xm7_1, nwell, [(-2.86,-3.015,2.86,3.015)])
R(xm7_1, comp, [(-2.58,-2.735,2.58,-2.375), (-2.58,-2.375,-2.22,2.375), (2.22,-2.375,2.58,2.375), (-1.53,-0.865,1.53,0.065), (-2.58,2.375,2.58,2.735)])
R(xm7_1, poly2, [(-0.93,-1.91,0.93,0.31)])
R(xm7_1, pplus, [(-1.16,-1.095,1.16,-1.025), (-1.69,-1.025,1.69,0.225), (-1.16,0.225,1.16,0.295)])
R(xm7_1, nplus, [(-2.74,-2.895,2.74,-2.355), (-2.74,-2.355,-2.2,-1.855), (-1.41,-2.355,1.41,-2.345), (2.2,-2.355,2.74,-1.855), (-2.74,-1.855,-2.19,1.855), (2.19,-1.855,2.74,1.855), (-2.74,1.855,-2.2,2.355), (2.2,1.855,2.74,2.355), (-1.41,2.345,1.41,2.355), (-2.74,2.355,2.74,2.895)])
A(xm7_1, contact, -1.31, -2.665, 0.22, 0.22, 4, 2, 0.8, 5.11)
A(xm7_1, contact, -2.51, -1.755, 0.22, 0.22, 1, 8, 0, 0.47)
A(xm7_1, contact, 2.29, -1.755, 0.22, 0.22, 1, 8, 0, 0.47)
R(xm7_1, contact, [(-0.51,-1.77,-0.29,-1.55), (0.29,-1.77,0.51,-1.55), (-1.32,-0.51,-1.1,-0.29), (1.1,-0.51,1.32,-0.29)])
R(xm7_1, metal1, [(-2.63,-2.805,-2.13,-2.305), (-1.45,-2.805,1.45,-2.305), (2.13,-2.805,2.63,-2.305), (-2.63,-2.305,-2.17,2.305), (2.17,-2.305,2.63,2.305), (-0.65,-1.91,-0.15,-1.41), (0.15,-1.91,0.65,-1.41), (-1.44,-0.865,-0.98,-0.65), (0.98,-0.865,1.44,-0.65), (-1.46,-0.65,-0.96,-0.15), (0.96,-0.65,1.46,-0.15), (-1.44,-0.15,-0.98,0.615), (0.98,-0.15,1.44,1.415), (-1.46,0.615,-0.96,1.115), (0.96,1.415,1.46,1.915), (-2.63,2.305,-2.13,2.805), (-1.45,2.305,1.45,2.805), (2.13,2.305,2.63,2.805)])
A(xm7_1, via1, -1.33, -2.685, 0.26, 0.26, 4, 2, 0.8, 5.11)
R(xm7_1, via1, [(-2.51,-2.685,-2.25,-2.425), (2.25,-2.685,2.51,-2.425), (-0.53,-1.79,-0.27,-1.53), (0.27,-1.79,0.53,-1.53), (-1.34,-0.53,-1.08,-0.27), (1.08,-0.53,1.34,-0.27), (-1.34,0.735,-1.08,0.995), (1.08,1.535,1.34,1.795), (-2.51,2.425,-2.25,2.685), (2.25,2.425,2.51,2.685)])
R(xm7_1, metal2, [(-2.63,-2.805,2.63,-2.305), (-0.93,-1.91,0.93,-1.41), (-1.46,-0.865,-0.96,0.065), (0.96,-0.865,1.46,0.065), (-1.46,0.615,1.46,1.115), (-1.46,1.415,1.46,1.915), (-2.63,2.305,2.63,2.805)])

l_route_da279ef4 = lib.new_cell('L_route_da279ef4')
R(l_route_da279ef4, metal1, [(42.03,14.775,42.53,15.275), (42.07,15.275,42.53,16.535)])
R(l_route_da279ef4, via1, [(42.15,14.895,42.41,15.155)])
R(l_route_da279ef4, metal2, [(41.36,14.775,42.53,15.275)])

c_route_c935389e = lib.new_cell('c_route_c935389e')
R(c_route_c935389e, metal2, [(43.96,12.245,46.53,12.745), (43.96,16.635,45.96,17.135)])
R(c_route_c935389e, via2, [(44.08,12.365,44.34,12.625), (44.08,16.755,44.34,17.015)])
R(c_route_c935389e, metal3, [(43.96,12.245,44.46,17.135)])

straight_route_3751675e = lib.new_cell('straight_route_3751675e')
R(straight_route_3751675e, metal2, [(40.83,12.25,46.53,12.75)])

c_compass_layer42__0_size2____ = lib.new_cell('compass_layer42__0_size2__2$4$1')
R(c_compass_layer42__0_size2____, metal3, [(-1,-1,1,1)])

c_rectangle_layer42__0_siz____ = lib.new_cell('rectangle_layer42__0_size2__2$4$1')
c_rectangle_layer42__0_siz____.add(gdstk.Reference(c_compass_layer42__0_size2____, (1,1)))

l_route_1f185563 = lib.new_cell('L_route_1f185563')
R(l_route_1f185563, metal2, [(45.2,18.025,48.36,21.485), (26.25,21.485,48.36,21.985)])

l_route_0a7485ec = lib.new_cell('L_route_0a7485ec')
R(l_route_0a7485ec, metal2, [(37.68,16.965,42.12,21.485), (26.25,21.485,42.12,21.985)])

l_route_31e7c68d = lib.new_cell('L_route_31e7c68d')
R(l_route_31e7c68d, metal1, [(48.27,15.835,48.77,16.335), (48.31,16.335,48.77,17.595)])
R(l_route_31e7c68d, via1, [(48.39,15.955,48.65,16.215)])
R(l_route_31e7c68d, metal2, [(47.6,15.835,48.77,16.335)])

compass_50f39e54 = lib.new_cell('compass_50f39e54')
R(compass_50f39e54, metal5, [(-25.5,-0.5,25.5,0.5)])

rectangle_50f39e54 = lib.new_cell('rectangle_50f39e54')
rectangle_50f39e54.add(gdstk.Reference(compass_50f39e54, (25.5,0.5)))

encoder = lib.new_cell('encoder')
R(encoder, boundary, [(0,0,51,22.235)])
encoder.add(gdstk.Reference(via_stack_7490b2b5_1, (4.18,4.355)))
encoder.add(gdstk.Reference(c_route_b2553670, (0,0)))
encoder.add(gdstk.Reference(rectangle_layer42__0_siz, (2.93,3.355)))
encoder.add(gdstk.Reference(xm9_1, (19.88,5.8)))
encoder.add(gdstk.Reference(via_stack_7490b2b5, (16.46,6.445)))
encoder.add(gdstk.Reference(straight_route_88abcf1b, (0,0)))
encoder.add(gdstk.Reference(l_route_b9b0439d, (0,0)))
encoder.add(gdstk.Reference(xm10, (26.12,5.8)))
encoder.add(gdstk.Reference(via_stack_b843013f, (25.5,0.5)))
encoder.add(gdstk.Reference(l_route_a891df28, (0,0)))
encoder.add(gdstk.Reference(l_route_049704b8, (0,0)))
encoder.add(gdstk.Reference(c_route_481192b6, (0,0)))
encoder.add(gdstk.Reference(straight_route_ff57ad5f, (0,0)))
encoder.add(gdstk.Reference(l_route_1f6eb2fc, (0,0)))
encoder.add(gdstk.Reference(xm1_1, (8.93,5.8)))
encoder.add(gdstk.Reference(l_route_4362e3b7, (0,0)))
encoder.add(gdstk.Reference(l_route_0982d815, (0,0)))
encoder.add(gdstk.Reference(xm2_1, (37.07,5.8)))
encoder.add(gdstk.Reference(via_stack_7490b2b5_1, (32.32,4.355)))
encoder.add(gdstk.Reference(l_route_171a04ac, (0,0)))
encoder.add(gdstk.Reference(c_route_f370e2cd, (0,0)))
encoder.add(gdstk.Reference(c_route_04ee7531, (0,0)))
encoder.add(gdstk.Reference(via_stack_7490b2b5, (44.6,6.445)))
encoder.add(gdstk.Reference(straight_route_9d656d86, (0,0)))
encoder.add(gdstk.Reference(c_rectangle_layer42__0_siz, (31.07,3.355)))
encoder.add(gdstk.Reference(rectangle_50f39e54_1, (0,0)))
encoder.add(gdstk.Reference(c_route_420c9b31, (0,0)))
encoder.add(gdstk.Reference(xm3_1, (4.22,14.69)))
encoder.add(gdstk.Reference(xm5_1, (11.1,14.16)))
encoder.add(gdstk.Reference(via_stack_7490b2b5_1, (11.35,15.825)))
encoder.add(gdstk.Reference(l_route_0b27eaa6, (0,0)))
encoder.add(gdstk.Reference(c_route_86cd68ff, (0,0)))
encoder.add(gdstk.Reference(straight_route_3d652be3, (0,0)))
encoder.add(gdstk.Reference(c_rectangle_layer42__0_siz_, (10.1,14.575)))
encoder.add(gdstk.Reference(xm8_1, (18.62,14.16)))
encoder.add(gdstk.Reference(xm11, (25.5,13.945)))
encoder.add(gdstk.Reference(via_stack_7490b2b5_1, (18.87,15.825)))
encoder.add(gdstk.Reference(l_route_c52907dc, (0,0)))
encoder.add(gdstk.Reference(l_route_11addbd7, (0,0)))
encoder.add(gdstk.Reference(l_route_a6bb1778, (0,0)))
encoder.add(gdstk.Reference(straight_route_d8785de4, (0,0)))
encoder.add(gdstk.Reference(c_route_679dd2e5, (0,0)))
encoder.add(gdstk.Reference(c_rectangle_layer42__0_siz__, (17.62,14.575)))
encoder.add(gdstk.Reference(l_route_52557085, (0,0)))
encoder.add(gdstk.Reference(l_route_aac58595, (0,0)))
encoder.add(gdstk.Reference(xm6, (32.38,14.16)))
encoder.add(gdstk.Reference(via_stack_7490b2b5_1, (32.63,15.825)))
encoder.add(gdstk.Reference(l_route_ec792bf5, (0,0)))
encoder.add(gdstk.Reference(l_route_aef27d6b, (0,0)))
encoder.add(gdstk.Reference(l_route_744f09a4, (0,0)))
encoder.add(gdstk.Reference(l_route_1a450bf3, (0,0)))
encoder.add(gdstk.Reference(straight_route_5cfec76b, (0,0)))
encoder.add(gdstk.Reference(c_rectangle_layer42__0_siz___, (31.38,14.575)))
encoder.add(gdstk.Reference(xm4_1, (46.78,14.69)))
encoder.add(gdstk.Reference(xm7_1, (39.9,14.16)))
encoder.add(gdstk.Reference(via_stack_7490b2b5_1, (40.15,15.825)))
encoder.add(gdstk.Reference(l_route_da279ef4, (0,0)))
encoder.add(gdstk.Reference(c_route_c935389e, (0,0)))
encoder.add(gdstk.Reference(straight_route_3751675e, (0,0)))
encoder.add(gdstk.Reference(c_rectangle_layer42__0_siz____, (38.9,14.575)))
encoder.add(gdstk.Reference(l_route_1f185563, (0,0)))
encoder.add(gdstk.Reference(l_route_0a7485ec, (0,0)))
encoder.add(gdstk.Reference(l_route_31e7c68d, (0,0)))
encoder.add(gdstk.Reference(rectangle_50f39e54, (0,21.235)))
encoder.add(gdstk.Reference(via_stack_b843013f, (26.5,21.735)))
encoder.add(gdstk.Label('vss', (25.5,0.5), layer=81, texttype=10))
encoder.add(gdstk.Label('vdd', (26.5,21.735), layer=81, texttype=10))
encoder.add(gdstk.Label('Vin', (3.93,4.355), layer=42, texttype=10))
encoder.add(gdstk.Label('Vin_neg', (32.07,4.355), layer=42, texttype=10))
encoder.add(gdstk.Label('Iex_1_i', (18.62,15.575), layer=42, texttype=10))
encoder.add(gdstk.Label('Iex_2_i', (11.1,15.575), layer=42, texttype=10))
encoder.add(gdstk.Label('Iex_3_i', (39.9,15.575), layer=42, texttype=10))
encoder.add(gdstk.Label('Iex_4_i', (32.38,15.575), layer=42, texttype=10))

lib.write_gds('encoder.gds')
